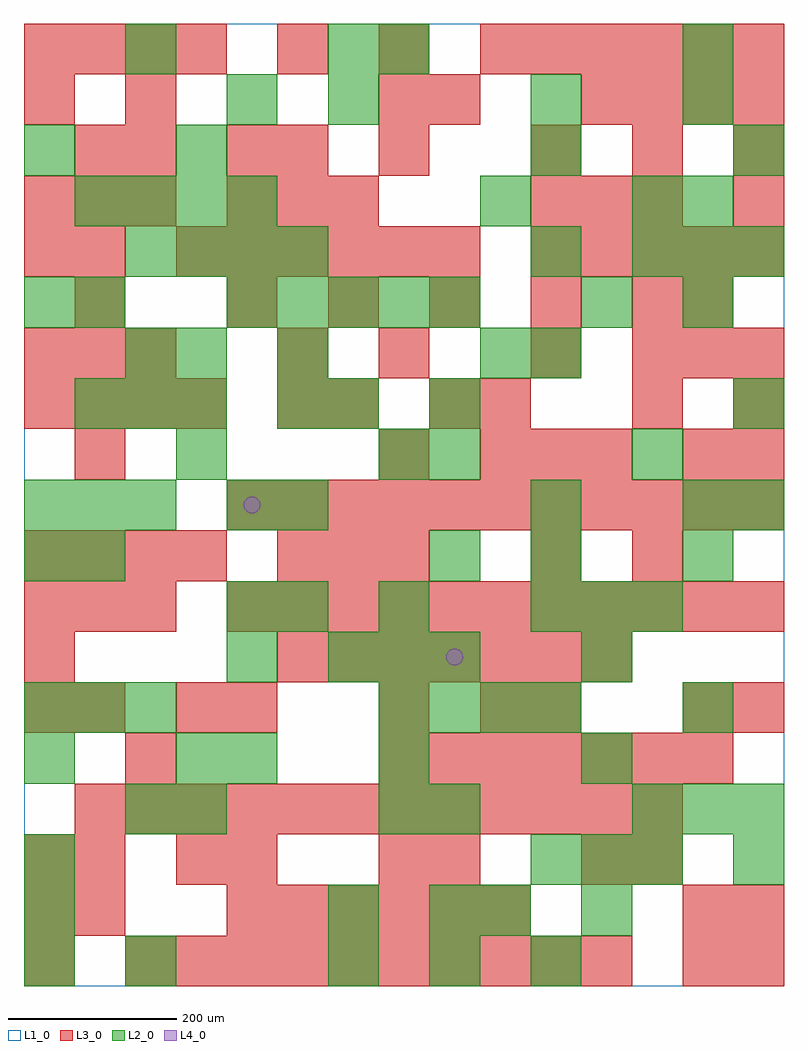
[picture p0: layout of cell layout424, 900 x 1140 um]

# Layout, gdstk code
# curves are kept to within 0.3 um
import gdstk
lib = gdstk.Library(unit=1e-6, precision=1e-09)
def R(c, l, rs):  # rectangles x0, y0, x1, y1
    for r in rs: c.add(gdstk.rectangle(r[:2], r[2:], *l))
def A(c, l, x, y, w, h, nx, ny, dx, dy):  # array of equal rectangles
    R(c, l, [(x+i*dx, y+j*dy, x+i*dx+w, y+j*dy+h) for i in range(nx) for j in range(ny)])
def P(c, l, *ps):  # polygons
    for p in ps: c.add(gdstk.Polygon(p, *l))
L1_0 = (1, 0)
L2_0 = (2, 0)
L3_0 = (3, 0)
L4_0 = (4, 0)

layout424 = lib.new_cell('layout424')
R(layout424, L1_0, [(0,0,900,1140)])
A(layout424, L2_0, 0, 0, 60, 60, 1, 3, 0, 60)
A(layout424, L2_0, 360, 0, 60, 60, 3, 1, 120, 0)
A(layout424, L2_0, 600, 120, 60, 60, 3, 2, 60, 300)
A(layout424, L2_0, 720, 180, 60, 60, 3, 2, 60, 660)
A(layout424, L2_0, 420, 240, 60, 60, 1, 3, 0, 180)
A(layout424, L2_0, 0, 300, 60, 60, 3, 2, 60, 240)
A(layout424, L2_0, 420, 300, 60, 60, 4, 1, 60, 0)
A(layout424, L2_0, 360, 360, 60, 60, 3, 1, 60, 0)
A(layout424, L2_0, 300, 420, 60, 60, 1, 3, 0, 120)
A(layout424, L2_0, 60, 660, 60, 60, 3, 1, 60, 0)
A(layout424, L2_0, 600, 720, 60, 60, 1, 3, 0, 120)
A(layout424, L2_0, 240, 780, 60, 60, 5, 1, 60, 0)
A(layout424, L2_0, 780, 780, 60, 60, 1, 3, 0, 120)
A(layout424, L2_0, 120, 840, 60, 60, 4, 1, 60, 0)
A(layout424, L2_0, 60, 900, 60, 60, 4, 1, 60, 0)
R(layout424, L2_0, [(120,0,180,60), (360,60,420,120), (480,60,540,120), (540,60,600,120), (660,60,720,120), (840,120,900,180), (120,180,180,240), (180,180,240,240), (420,180,480,240), (480,180,540,240), (0,240,60,300), (180,240,240,300), (240,240,300,300), (660,240,720,300), (780,300,840,360), (240,360,300,420), (660,360,720,420), (240,420,300,480), (0,480,60,540), (60,480,120,540), (480,480,540,540), (600,480,660,540), (780,480,840,540), (240,540,300,600), (600,540,660,600), (780,540,840,600), (840,540,900,600), (180,600,240,660), (480,600,540,660), (720,600,780,660), (360,660,420,720), (480,660,540,720), (840,660,900,720), (120,720,180,780), (180,720,240,780), (300,720,360,780), (540,720,600,780), (0,780,60,840), (60,780,120,840), (660,780,720,840), (540,900,600,960), (720,900,780,960), (0,960,60,1020), (180,960,240,1020), (840,960,900,1020), (240,1020,300,1080), (360,1020,420,1080), (600,1020,660,1080), (120,1080,180,1140), (360,1080,420,1140), (420,1080,480,1140), (780,1080,840,1140)])
A(layout424, L3_0, 0, 0, 60, 60, 1, 3, 0, 60)
A(layout424, L3_0, 120, 0, 60, 60, 10, 1, 60, 0)
A(layout424, L3_0, 240, 60, 60, 60, 6, 1, 60, 0)
A(layout424, L3_0, 60, 180, 60, 60, 12, 1, 60, 0)
A(layout424, L3_0, 420, 240, 60, 60, 7, 1, 60, 0)
A(layout424, L3_0, 300, 360, 60, 60, 7, 1, 60, 0)
A(layout424, L3_0, 0, 420, 60, 60, 3, 2, 60, 300)
A(layout424, L3_0, 240, 420, 60, 60, 11, 2, 60, 120)
A(layout424, L3_0, 0, 480, 60, 60, 4, 2, 60, 180)
A(layout424, L3_0, 300, 480, 60, 60, 3, 1, 60, 0)
A(layout424, L3_0, 540, 600, 60, 60, 3, 1, 60, 0)
A(layout424, L3_0, 720, 720, 60, 60, 3, 1, 60, 0)
A(layout424, L3_0, 240, 780, 60, 60, 5, 1, 120, 0)
A(layout424, L3_0, 180, 840, 60, 60, 6, 1, 60, 0)
A(layout424, L3_0, 600, 840, 60, 60, 5, 2, 60, 240)
A(layout424, L3_0, 0, 900, 60, 60, 3, 1, 60, 0)
A(layout424, L3_0, 240, 900, 60, 60, 3, 1, 60, 0)
A(layout424, L3_0, 600, 900, 60, 60, 3, 1, 60, 0)
A(layout424, L3_0, 600, 960, 60, 60, 3, 1, 120, 0)
A(layout424, L3_0, 660, 1020, 60, 60, 4, 1, 60, 0)
A(layout424, L3_0, 0, 1080, 60, 60, 4, 1, 60, 0)
A(layout424, L3_0, 300, 1080, 60, 60, 3, 1, 120, 0)
R(layout424, L3_0, [(780,0,840,60), (840,0,900,60), (60,60,120,120), (780,60,840,120), (840,60,900,120), (60,120,120,180), (180,120,240,180), (240,120,300,180), (420,120,480,180), (480,120,540,180), (660,120,720,180), (720,120,780,180), (120,240,180,300), (0,300,60,360), (60,300,120,360), (180,300,240,360), (240,300,300,360), (420,300,480,360), (540,300,600,360), (600,300,660,360), (780,300,840,360), (840,300,900,360), (0,360,60,420), (600,480,660,540), (720,480,780,540), (60,600,120,660), (420,600,480,660), (780,600,840,660), (840,600,900,660), (300,660,360,720), (360,660,420,720), (480,660,540,720), (540,660,600,720), (720,660,780,720), (840,660,900,720), (300,720,360,780), (420,720,480,780), (600,720,660,780), (60,780,120,840), (780,780,840,840), (0,840,60,900), (60,840,120,900), (840,900,900,960), (60,960,120,1020), (120,960,180,1020), (240,960,300,1020), (300,960,360,1020), (420,960,480,1020), (0,1020,60,1080), (120,1020,180,1080), (420,1020,480,1080), (480,1020,540,1080)])
P(layout424, L4_0, [(280,570),(279.239,573.827),(277.071,577.071),(273.827,579.239),(270,580),(266.173,579.239),(262.929,577.071),(260.761,573.827),(260,570),(260.761,566.173),(262.929,562.929),(266.173,560.761),(270,560),(273.827,560.761),(277.071,562.929),(279.239,566.173)],
  [(520,390),(519.239,393.827),(517.071,397.071),(513.827,399.239),(510,400),(506.173,399.239),(502.929,397.071),(500.761,393.827),(500,390),(500.761,386.173),(502.929,382.929),(506.173,380.761),(510,380),(513.827,380.761),(517.071,382.929),(519.239,386.173)])

lib.write_gds('layout424.gds')
